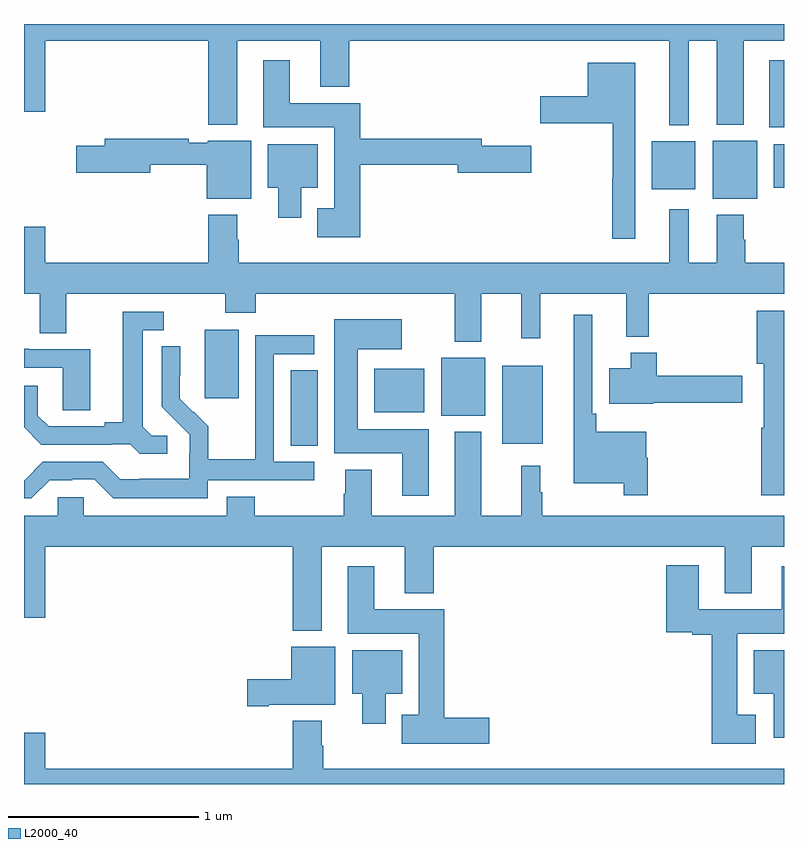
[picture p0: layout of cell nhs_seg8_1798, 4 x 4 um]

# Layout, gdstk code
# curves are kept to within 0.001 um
import gdstk
lib = gdstk.Library(unit=1e-6, precision=1e-09)
def R(c, l, rs):  # rectangles x0, y0, x1, y1
    for r in rs: c.add(gdstk.rectangle(r[:2], r[2:], *l))
def P(c, l, *ps):  # polygons
    for p in ps: c.add(gdstk.Polygon(p, *l))
L2000_40 = (2000, 40)

nhs_seg8_1798 = lib.new_cell('nhs_seg8_1798')
R(nhs_seg8_1798, L2000_40, [(226.403,1135.681,226.546,1136.078), (227.516,1135.691,227.731,1136.101), (227.195,1135.838,227.428,1136.143), (226.844,1135.856,227.107,1136.086), (225.95,1135.929,226.129,1136.29), (228.626,1136.981,228.859,1137.286), (228.305,1137.029,228.532,1137.283), (228.947,1137.038,229,1137.268), (228.923,1137.356,229,1137.709)])
P(nhs_seg8_1798, L2000_40, [(225,1137.438),(225.112,1137.438),(225.112,1137.812),(225.971,1137.812),(225.971,1137.371),(226.123,1137.371),(226.123,1137.812),(226.559,1137.812),(226.559,1137.569),(226.712,1137.569),(226.712,1137.812),(228.395,1137.812),(228.395,1137.368),(228.499,1137.368),(228.499,1137.812),(228.647,1137.812),(228.647,1137.371),(228.787,1137.371),(228.787,1137.812),(229,1137.812),(229,1137.9),(225,1137.9)],
  [(226.769,1137.16),(227.282,1137.16),(227.282,1137.118),(227.671,1137.118),(227.671,1137.26),(227.41,1137.26),(227.41,1137.296),(226.769,1137.296),(226.769,1137.484),(226.399,1137.484),(226.399,1137.709),(226.259,1137.709),(226.259,1137.356),(226.634,1137.356),(226.634,1136.929),(226.544,1136.929),(226.544,1136.777),(226.769,1136.777)],
  [(228.217,1137.697),(227.966,1137.697),(227.966,1137.519),(227.718,1137.519),(227.718,1137.377),(228.098,1137.377),(228.098,1137.087),(228.096,1137.087),(228.096,1136.769),(228.217,1136.769)],
  [(226.195,1137.286),(225.966,1137.286),(225.966,1137.276),(225.866,1137.276),(225.866,1137.296),(225.425,1137.296),(225.425,1137.26),(225.276,1137.26),(225.276,1137.118),(225.664,1137.118),(225.664,1137.16),(225.962,1137.16),(225.962,1136.981),(226.195,1136.981)],
  [(226.459,1137.038),(226.546,1137.038),(226.546,1137.268),(226.283,1137.268),(226.283,1137.038),(226.337,1137.038),(226.337,1136.88),(226.459,1136.88)],
  [(227.407,1136.48),(227.618,1136.48),(227.618,1136.247),(227.717,1136.247),(227.717,1136.48),(228.17,1136.48),(228.17,1136.255),(228.287,1136.255),(228.287,1136.48),(229,1136.48),(229,1136.644),(228.795,1136.644),(228.795,1136.765),(228.787,1136.765),(228.787,1136.896),(228.647,1136.896),(228.647,1136.644),(228.499,1136.644),(228.499,1136.926),(228.395,1136.926),(228.395,1136.644),(226.131,1136.644),(226.131,1136.765),(226.123,1136.765),(226.123,1136.896),(225.971,1136.896),(225.971,1136.644),(225.112,1136.644),(225.112,1136.833),(225,1136.833),(225,1136.48),(225.083,1136.48),(225.083,1136.272),(225.223,1136.272),(225.223,1136.48),(226.06,1136.48),(226.06,1136.381),(226.22,1136.381),(226.22,1136.48),(227.267,1136.48),(227.267,1136.228),(227.407,1136.228)],
  [(229,1136.392),(228.857,1136.392),(228.857,1136.112),(228.893,1136.112),(228.893,1135.774),(228.881,1135.774),(228.881,1135.419),(229,1135.419)],
  [(225.754,1135.734),(225.672,1135.734),(225.625,1135.781),(225.625,1136.289),(225.736,1136.289),(225.736,1136.385),(225.521,1136.385),(225.521,1135.805),(225.425,1135.805),(225.425,1135.782),(225.13,1135.782),(225.073,1135.839),(225.073,1135.996),(225,1135.996),(225,1135.778),(225.092,1135.686),(225.464,1135.686),(225.464,1135.689),(225.558,1135.689),(225.61,1135.637),(225.754,1135.637)],
  [(228.284,1135.617),(228.274,1135.617),(228.274,1135.753),(228.011,1135.753),(228.011,1135.849),(227.991,1135.849),(227.991,1136.371),(227.894,1136.371),(227.894,1135.484),(228.156,1135.484),(228.156,1135.419),(228.284,1135.419)],
  [(227.131,1135.768),(226.756,1135.768),(226.756,1136.189),(226.987,1136.189),(226.987,1136.347),(226.634,1136.347),(226.634,1135.64),(226.991,1135.64),(226.991,1135.416),(227.131,1135.416)],
  [(225.966,1135.5),(226.528,1135.5),(226.528,1135.596),(226.314,1135.596),(226.314,1136.163),(226.528,1136.163),(226.528,1136.262),(226.218,1136.262),(226.218,1135.832),(226.216,1135.832),(226.216,1135.609),(225.971,1135.609),(225.971,1135.783),(225.894,1135.86),(225.891,1135.857),(225.821,1135.928),(225.822,1136.204),(225.726,1136.204),(225.726,1135.886),(225.872,1135.738),(225.872,1135.641),(225.87,1135.641),(225.87,1135.507),(225.607,1135.507),(225.607,1135.503),(225.507,1135.503),(225.414,1135.596),(225.099,1135.596),(225.003,1135.5),(225,1135.5),(225,1135.404),(225.039,1135.404),(225.135,1135.5),(225.254,1135.5),(225.254,1135.503),(225.369,1135.503),(225.469,1135.403),(225.966,1135.403)],
  [(225.349,1136.187),(225.025,1136.187),(225.025,1136.191),(225,1136.191),(225,1136.091),(225.204,1136.091),(225.204,1135.867),(225.349,1135.867)],
  [(228.312,1135.907),(228.781,1135.907),(228.781,1136.049),(228.329,1136.049),(228.329,1136.17),(228.194,1136.17),(228.194,1136.089),(228.08,1136.089),(228.08,1135.901),(228.312,1135.901)],
  [(226.567,1135.148),(227.003,1135.148),(227.003,1134.905),(227.156,1134.905),(227.156,1135.148),(228.689,1135.148),(228.689,1134.905),(228.829,1134.905),(228.829,1135.148),(229,1135.148),(229,1135.312),(227.728,1135.312),(227.728,1135.436),(227.716,1135.436),(227.716,1135.576),(227.618,1135.576),(227.618,1135.312),(227.407,1135.312),(227.407,1135.753),(227.267,1135.753),(227.267,1135.312),(226.831,1135.312),(226.831,1135.555),(226.691,1135.555),(226.691,1135.428),(226.684,1135.428),(226.684,1135.312),(226.215,1135.312),(226.215,1135.411),(226.067,1135.411),(226.067,1135.312),(225.315,1135.312),(225.315,1135.41),(225.177,1135.41),(225.177,1135.312),(225,1135.312),(225,1134.774),(225.112,1134.774),(225.112,1135.148),(226.415,1135.148),(226.415,1134.707),(226.567,1134.707)],
  [(228.85,1134.265),(228.754,1134.265),(228.754,1134.692),(229,1134.692),(229,1135.045),(228.989,1135.045),(228.989,1134.82),(228.55,1134.82),(228.55,1135.051),(228.38,1135.051),(228.38,1134.698),(228.516,1134.698),(228.516,1134.686),(228.62,1134.686),(228.62,1134.113),(228.85,1134.113)],
  [(227.449,1134.248),(227.213,1134.248),(227.213,1134.82),(226.843,1134.82),(226.843,1135.045),(226.703,1135.045),(226.703,1134.692),(227.078,1134.692),(227.078,1134.265),(226.988,1134.265),(226.988,1134.113),(227.449,1134.113)],
  [(226.288,1134.317),(226.639,1134.317),(226.639,1134.622),(226.406,1134.622),(226.406,1134.452),(226.176,1134.452),(226.176,1134.31),(226.288,1134.31)],
  [(226.903,1134.374),(226.99,1134.374),(226.99,1134.604),(226.727,1134.604),(226.727,1134.374),(226.781,1134.374),(226.781,1134.216),(226.903,1134.216)],
  [(229,1134.604),(228.842,1134.604),(228.842,1134.374),(228.947,1134.374),(228.947,1134.144),(229,1134.144)],
  [(229,1133.98),(226.575,1133.98),(226.575,1134.101),(226.567,1134.101),(226.567,1134.232),(226.415,1134.232),(226.415,1133.98),(225.112,1133.98),(225.112,1134.169),(225,1134.169),(225,1133.9),(229,1133.9)])

lib.write_gds('nhs_seg8_1798.gds')
